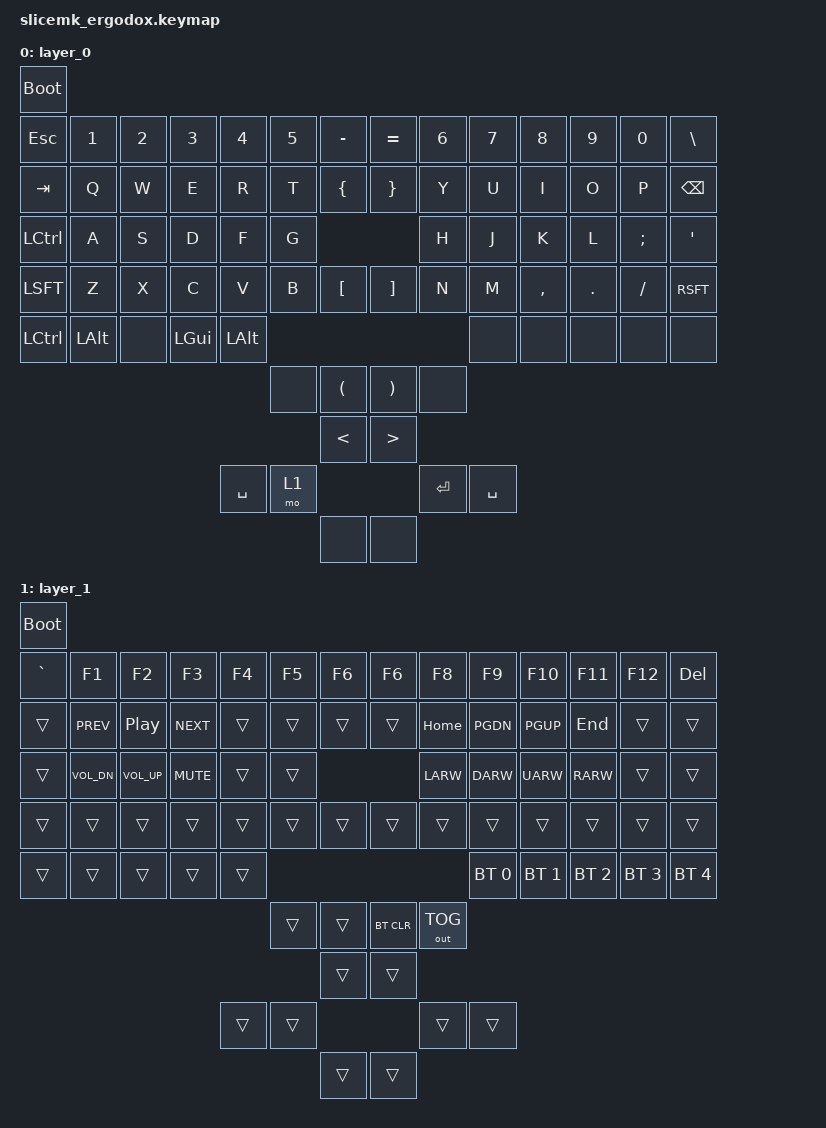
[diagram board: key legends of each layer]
#include <behaviors.dtsi>
#include <dt-bindings/zmk/bt.h>
#include <dt-bindings/zmk/keys.h>
#include <dt-bindings/zmk/outputs.h>

/ {
        keymap {
                compatible = "zmk,keymap";
                layer_0 {
                        bindings = <
    &bootloader
    &kp ESC    &kp NUM_1    &kp NUM_2  &kp NUM_3  &kp NUM_4  &kp NUM_5  &kp MINUS  &kp EQL    &kp NUM_6  &kp NUM_7  &kp NUM_8  &kp NUM_9  &kp NUM_0  &kp BSLH
    &kp TAB    &kp Q        &kp W      &kp E      &kp R      &kp T      &kp LBRC   &kp RBRC   &kp Y      &kp U      &kp I      &kp O      &kp P      &kp BSPC
    &kp LCTL   &kp A        &kp S      &kp D      &kp F      &kp G                            &kp H      &kp J      &kp K      &kp L      &kp SCLN   &kp APOS
    &kp LSFT   &kp Z        &kp X      &kp C      &kp V      &kp B      &kp LBKT   &kp RBKT   &kp N      &kp M      &kp CMMA   &kp DOT    &kp FSLH   &kp RSFT
    &kp LCTL   &kp LALT     &none      &kp LGUI   &kp LALT                                               &none      &none      &none      &none      &none
                                                             &none      &kp LPAR   &kp RPAR   &none
                                                                        &kp LT     &kp GT
                                                  &kp SPC    &mo 1                            &kp RET    &kp SPC
                                                                        &none      &none
                        >;
                };

                layer_1 {
                        bindings = <
    &bootloader
    &kp GRAV   &kp F1       &kp F2       &kp F3     &kp F4     &kp F5     &kp F6     &kp F6     &kp F8     &kp F9       &kp F10      &kp F11      &kp F12      &kp DEL
    &trans     &kp C_PREV   &kp C_PP     &kp C_NEXT &trans     &trans     &trans     &trans     &kp HOME   &kp PGDN     &kp PGUP     &kp END      &trans       &trans
    &trans     &kp C_VOL_DN &kp C_VOL_UP &kp C_MUTE &trans     &trans                           &kp LARW   &kp DARW     &kp UARW     &kp RARW     &trans       &trans
    &trans     &trans       &trans       &trans     &trans     &trans     &trans     &trans     &trans     &trans       &trans       &trans       &trans       &trans
    &trans     &trans       &trans       &trans     &trans                                                 &bt BT_SEL 0 &bt BT_SEL 1 &bt BT_SEL 2 &bt BT_SEL 3 &bt BT_SEL 4 
                                                               &trans     &trans     &bt BT_CLR &out OUT_TOG
                                                                          &trans     &trans
                                                    &trans     &trans                           &trans     &trans
                                                                          &trans     &trans
                        >;
                };
        };
};
